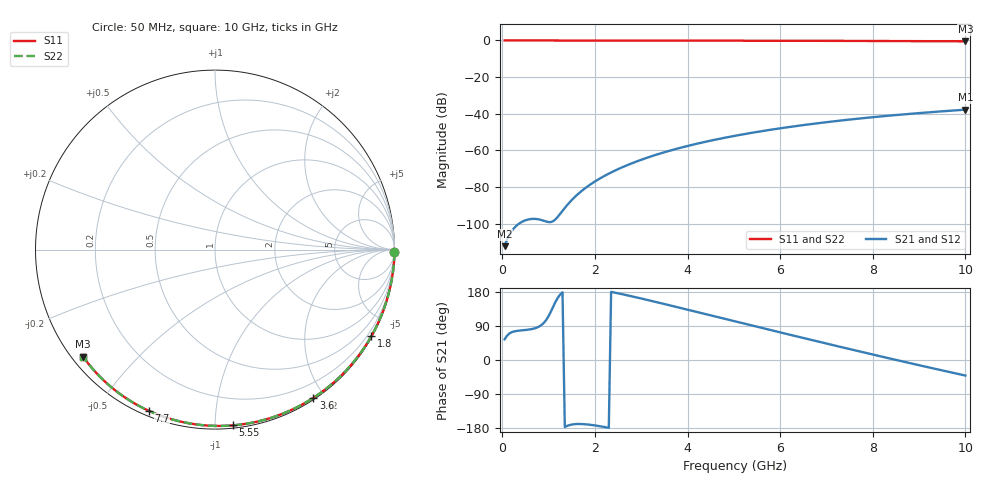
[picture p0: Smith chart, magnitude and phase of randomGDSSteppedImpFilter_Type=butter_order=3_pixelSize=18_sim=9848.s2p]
! freq	dB(S11)	phase(S11)	dB(S12)	phase(S12)
!  dB(S21)	phase(S21)	dB(S22)	phase(S22)
!S-par simulation data
#  GHz  S  DB  R 50
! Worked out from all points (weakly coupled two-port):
!   200 points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, 50 MHz to 10 GHz, reference 50 ohm
!   highest |S21| = -37.78 dB at 10 GHz (marker M1); lowest = -112.3 dB at 50 MHz (marker M2)
!   lowest |S11| = -0.5 dB at 10 GHz (marker M3), VSWR 36.47, Z = 1.54 - j17.8 ohm
!   |S11| at or under -10 dB: nowhere
!   |S22| runs from -0.5 to 0.0 dB; largest |S21 - S12| = 0
!   S11 on the Smith chart (normalised r, x): 50 MHz: open; 1.8 GHz: 0.03, -3.88; 3.6 GHz: 0.02, -1.86; 5.55 GHz: 0.02, -1.11; 7.7 GHz: 0.02, -0.67; 10 GHz: 0.03, -0.36
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0.05  -0.00 -0.8  -112.29 54.5  -112.29 54.5  -0.00 -0.8
0.45  -0.01 -7.3  -98.68 78.6  -98.68 78.6  -0.01 -7.3
0.9  -0.02 -14.6  -98.45 98.4  -98.45 98.4  -0.02 -14.6
1.75  -0.04 -28.1  -81.42 -169.2  -81.42 -169.2  -0.04 -28.1
1.8  -0.04 -28.9  -80.45 -169.7  -80.45 -169.7  -0.04 -28.9
1.85  -0.04 -29.7  -79.53 -170.2  -79.53 -170.2  -0.04 -29.7
2.05  -0.04 -32.8  -76.21 -173.5  -76.21 -173.5  -0.04 -32.8
2.25  -0.05 -35.9  -73.34 -177.8  -73.34 -177.8  -0.05 -35.9
2.55  -0.05 -40.6  -69.67 174.7  -69.67 174.7  -0.05 -40.6
2.95  -0.06 -46.7  -65.59 163.7  -65.59 163.7  -0.06 -46.7
3.4  -0.07 -53.4  -61.78 150.7  -61.78 150.7  -0.07 -53.4
3.6  -0.08 -56.4  -60.29 144.8  -60.29 144.8  -0.08 -56.4
3.9  -0.08 -60.8  -58.24 135.8  -58.24 135.8  -0.08 -60.8
4.3  -0.09 -66.6  -55.80 123.8  -55.80 123.8  -0.09 -66.6
5.05  -0.12 -77.2  -51.92 101.3  -51.92 101.3  -0.12 -77.2
5.55  -0.14 -84.1  -49.73 86.3  -49.73 86.3  -0.14 -84.1
6.1  -0.16 -91.5  -47.59 69.9  -47.59 69.9  -0.16 -91.5
6.7  -0.19 -99.4  -45.54 52.2  -45.54 52.2  -0.19 -99.4
7.7  -0.26 -112.3  -42.64 23.1  -42.64 23.1  -0.26 -112.3
8.35  -0.31 -120.4  -41.05 4.5  -41.05 4.5  -0.31 -120.4
9.2  -0.39 -131.0  -39.25 -19.3  -39.25 -19.3  -0.39 -131.0
10  -0.48 -140.9  -37.78 -41.1  -37.78 -41.1  -0.48 -140.9
